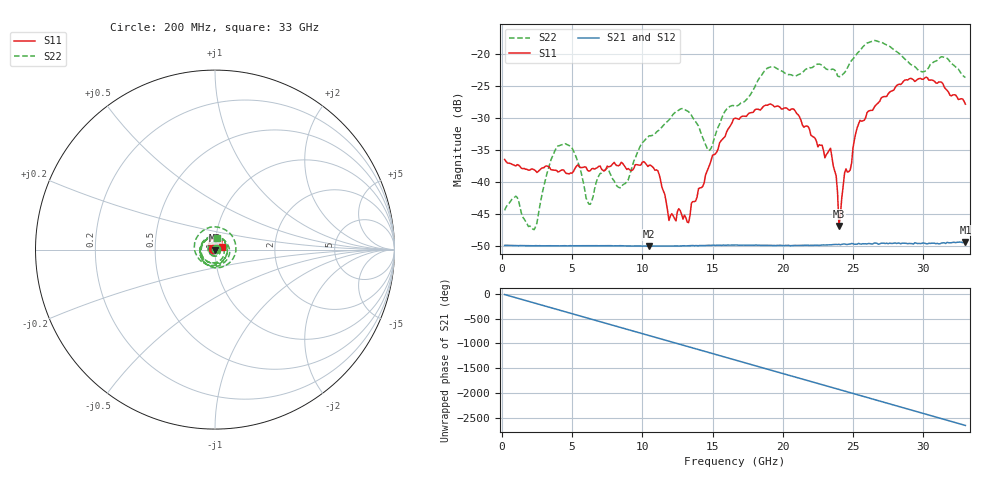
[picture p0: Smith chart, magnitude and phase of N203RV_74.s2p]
# GHZ S RI R 50
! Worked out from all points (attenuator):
!   329 points, 200 MHz to 33 GHz, reference 50 ohm
!   highest |S21| = -49.43 dB at 33 GHz (marker M1); lowest = -50.1 dB at 10.5 GHz (marker M2)
!   lowest |S11| = -46.9 dB at 24 GHz (marker M3), VSWR 1.01, Z = 49.9 - j0.446 ohm
!   |S11| at or under -10 dB: start of sweep to end of sweep
!   |S22| runs from -47.5 to -17.9 dB; largest |S21 - S12| = 7.2e-05
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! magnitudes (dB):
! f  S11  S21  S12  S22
! 200 MHz  -36.5  -50.0  -50.0  -44.5
! 2.3 GHz  -38.1  -50.0  -50.0  -47.5
! 4 GHz  -38.5  -50.1  -50.0  -34.4
! 5.7 GHz  -37.8  -50.0  -50.0  -39.1
! 6.2 GHz  -38.3  -50.0  -50.0  -43.5
! 7.5 GHz  -37.6  -50.0  -50.0  -37.9
! 8.5 GHz  -37.0  -50.0  -50.0  -40.9
! 10.5 GHz  -37.4  -50.1  -50.1  -32.8
! 11.2 GHz  -38.9  -50.1  -50.1  -31.9
! 11.9 GHz  -46.1  -50.1  -50.1  -30.3
! 13.3 GHz  -46.4  -50.0  -50.0  -29.1
! 14.7 GHz  -37.9  -50.0  -50.0  -35.1
! 16.6 GHz  -30.1  -49.9  -49.9  -28.2
! 20.7 GHz  -28.6  -50.0  -50.0  -23.4
! 22.1 GHz  -32.9  -50.0  -49.9  -22.1
! 23.4 GHz  -34.8  -49.9  -49.9  -22.5
! 23.8 GHz  -39.1  -49.8  -49.8  -22.8
! 24 GHz  -46.9  -49.8  -49.8  -23.6
! 24.4 GHz  -38.6  -49.8  -49.7  -22.9
! 25.4 GHz  -30.9  -49.7  -49.7  -19.7
! 27.6 GHz  -26.0  -49.6  -49.7  -18.8
! 33 GHz  -27.9  -49.4  -49.4  -23.7
